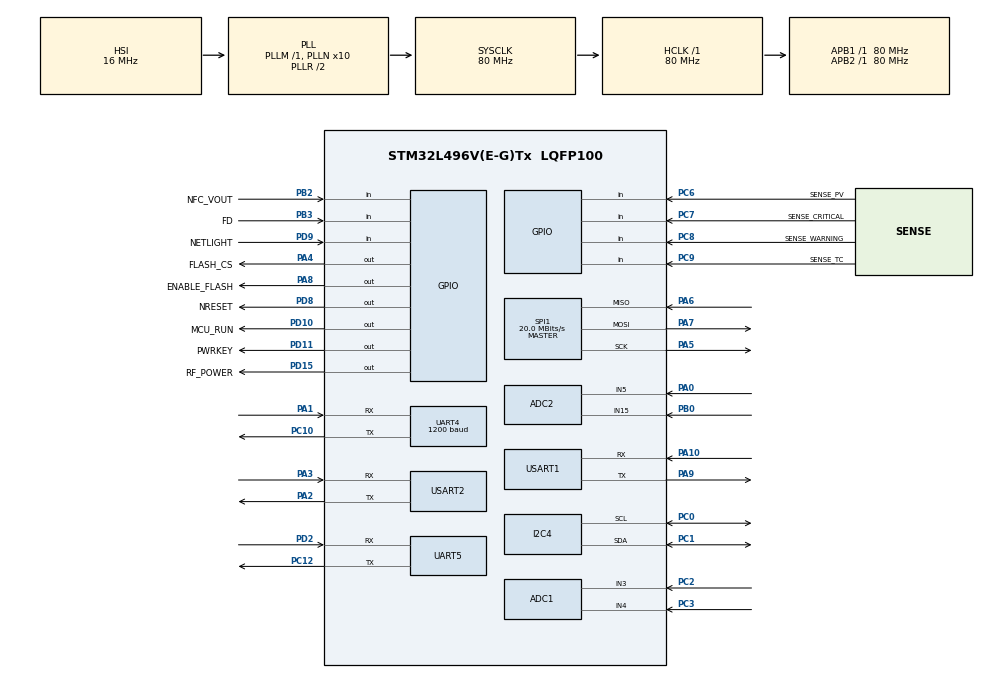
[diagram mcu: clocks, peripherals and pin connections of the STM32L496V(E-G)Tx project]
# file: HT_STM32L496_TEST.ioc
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ADC1.Channel-0\#ChannelRegularConversion=ADC_CHANNEL_TEMPSENSOR
ADC1.Channel-10\#ChannelRegularConversion=ADC_CHANNEL_3
ADC1.Channel-11\#ChannelRegularConversion=ADC_CHANNEL_4
ADC1.Channel-8\#ChannelRegularConversion=ADC_CHANNEL_VBAT
ADC1.Channel-9\#ChannelRegularConversion=ADC_CHANNEL_VREFINT
ADC1.ClockPrescaler=ADC_CLOCK_ASYNC_DIV1
ADC1.ContinuousConvMode=DISABLE
ADC1.DMAContinuousRequests=ENABLE
ADC1.DiscontinuousConvMode=DISABLE
ADC1.EOCSelection=ADC_EOC_SINGLE_CONV
ADC1.LowPowerAutoWait=DISABLE
ADC1.NbrOfConversion=5
ADC1.NbrOfConversionFlag=1
ADC1.OffsetNumber-0\#ChannelRegularConversion=ADC_OFFSET_NONE
ADC1.OffsetNumber-10\#ChannelRegularConversion=ADC_OFFSET_NONE
ADC1.OffsetNumber-11\#ChannelRegularConversion=ADC_OFFSET_NONE
ADC1.OffsetNumber-8\#ChannelRegularConversion=ADC_OFFSET_NONE
ADC1.OffsetNumber-9\#ChannelRegularConversion=ADC_OFFSET_NONE
ADC1.Overrun=ADC_OVR_DATA_OVERWRITTEN
ADC1.Rank-0\#ChannelRegularConversion=1
ADC1.Rank-10\#ChannelRegularConversion=4
ADC1.Rank-11\#ChannelRegularConversion=5
ADC1.Rank-8\#ChannelRegularConversion=2
ADC1.Rank-9\#ChannelRegularConversion=3
ADC1.SamplingTime-0\#ChannelRegularConversion=ADC_SAMPLETIME_2CYCLES_5
ADC1.SamplingTime-10\#ChannelRegularConversion=ADC_SAMPLETIME_2CYCLES_5
ADC1.SamplingTime-11\#ChannelRegularConversion=ADC_SAMPLETIME_2CYCLES_5
ADC1.SamplingTime-8\#ChannelRegularConversion=ADC_SAMPLETIME_2CYCLES_5
ADC1.SamplingTime-9\#ChannelRegularConversion=ADC_SAMPLETIME_2CYCLES_5
ADC1.master=1
ADC2.Channel-0\#ChannelRegularConversion=ADC_CHANNEL_15
ADC2.NbrOfConversionFlag=1
ADC2.OffsetNumber-0\#ChannelRegularConversion=ADC_OFFSET_NONE
ADC2.Rank-0\#ChannelRegularConversion=1
ADC2.SamplingTime-0\#ChannelRegularConversion=ADC_SAMPLETIME_2CYCLES_5
Dma.ADC1.0.Direction=DMA_PERIPH_TO_MEMORY
Dma.ADC1.0.Instance=DMA1_Channel1
Dma.ADC1.0.MemDataAlignment=DMA_MDATAALIGN_HALFWORD
Dma.ADC1.0.MemInc=DMA_MINC_ENABLE
Dma.ADC1.0.Mode=DMA_CIRCULAR
Dma.ADC1.0.PeriphDataAlignment=DMA_PDATAALIGN_HALFWORD
Dma.ADC1.0.PeriphInc=DMA_PINC_DISABLE
Dma.ADC1.0.Priority=DMA_PRIORITY_MEDIUM
Dma.ADC2.9.Direction=DMA_PERIPH_TO_MEMORY
Dma.ADC2.9.Instance=DMA1_Channel2
Dma.ADC2.9.MemDataAlignment=DMA_MDATAALIGN_HALFWORD
Dma.ADC2.9.MemInc=DMA_MINC_ENABLE
Dma.ADC2.9.Mode=DMA_CIRCULAR
Dma.ADC2.9.PeriphDataAlignment=DMA_PDATAALIGN_HALFWORD
Dma.ADC2.9.PeriphInc=DMA_PINC_DISABLE
Dma.ADC2.9.Priority=DMA_PRIORITY_LOW
Dma.Request0=ADC1
Dma.Request1=UART5_RX
Dma.Request2=UART5_TX
Dma.Request3=UART4_RX
Dma.Request4=UART4_TX
Dma.Request5=USART2_RX
Dma.Request6=USART2_TX
Dma.Request7=USART1_RX
Dma.Request8=USART1_TX
Dma.Request9=ADC2
Dma.UART4_RX.3.Direction=DMA_PERIPH_TO_MEMORY
Dma.UART4_RX.3.Instance=DMA2_Channel5
Dma.UART4_RX.3.MemDataAlignment=DMA_MDATAALIGN_BYTE
Dma.UART4_RX.3.MemInc=DMA_MINC_ENABLE
Dma.UART4_RX.3.Mode=DMA_CIRCULAR
Dma.UART4_RX.3.PeriphDataAlignment=DMA_PDATAALIGN_BYTE
Dma.UART4_RX.3.PeriphInc=DMA_PINC_DISABLE
Dma.UART4_RX.3.Priority=DMA_PRIORITY_MEDIUM
Dma.UART4_TX.4.Direction=DMA_MEMORY_TO_PERIPH
Dma.UART4_TX.4.Instance=DMA2_Channel3
Dma.UART4_TX.4.MemDataAlignment=DMA_MDATAALIGN_BYTE
Dma.UART4_TX.4.MemInc=DMA_MINC_ENABLE
Dma.UART4_TX.4.Mode=DMA_CIRCULAR
Dma.UART4_TX.4.PeriphDataAlignment=DMA_PDATAALIGN_BYTE
Dma.UART4_TX.4.PeriphInc=DMA_PINC_DISABLE
Dma.UART4_TX.4.Priority=DMA_PRIORITY_MEDIUM
Dma.UART5_RX.1.Direction=DMA_PERIPH_TO_MEMORY
Dma.UART5_RX.1.Instance=DMA2_Channel2
Dma.UART5_RX.1.MemDataAlignment=DMA_MDATAALIGN_BYTE
Dma.UART5_RX.1.MemInc=DMA_MINC_ENABLE
Dma.UART5_RX.1.Mode=DMA_CIRCULAR
Dma.UART5_RX.1.PeriphDataAlignment=DMA_PDATAALIGN_BYTE
Dma.UART5_RX.1.PeriphInc=DMA_PINC_DISABLE
Dma.UART5_RX.1.Priority=DMA_PRIORITY_MEDIUM
Dma.UART5_TX.2.Direction=DMA_MEMORY_TO_PERIPH
Dma.UART5_TX.2.Instance=DMA2_Channel1
Dma.UART5_TX.2.MemDataAlignment=DMA_MDATAALIGN_BYTE
Dma.UART5_TX.2.MemInc=DMA_MINC_ENABLE
Dma.UART5_TX.2.Mode=DMA_CIRCULAR
Dma.UART5_TX.2.PeriphDataAlignment=DMA_PDATAALIGN_BYTE
Dma.UART5_TX.2.PeriphInc=DMA_PINC_DISABLE
Dma.UART5_TX.2.Priority=DMA_PRIORITY_MEDIUM
Dma.USART1_RX.7.Direction=DMA_PERIPH_TO_MEMORY
Dma.USART1_RX.7.Instance=DMA1_Channel5
Dma.USART1_RX.7.MemDataAlignment=DMA_MDATAALIGN_BYTE
Dma.USART1_RX.7.MemInc=DMA_MINC_ENABLE
Dma.USART1_RX.7.Mode=DMA_CIRCULAR
Dma.USART1_RX.7.PeriphDataAlignment=DMA_PDATAALIGN_BYTE
Dma.USART1_RX.7.PeriphInc=DMA_PINC_DISABLE
Dma.USART1_RX.7.Priority=DMA_PRIORITY_MEDIUM
Dma.USART1_TX.8.Direction=DMA_MEMORY_TO_PERIPH
Dma.USART1_TX.8.Instance=DMA1_Channel4
Dma.USART1_TX.8.MemDataAlignment=DMA_MDATAALIGN_BYTE
Dma.USART1_TX.8.MemInc=DMA_MINC_ENABLE
Dma.USART1_TX.8.Mode=DMA_CIRCULAR
Dma.USART1_TX.8.PeriphDataAlignment=DMA_PDATAALIGN_BYTE
Dma.USART1_TX.8.PeriphInc=DMA_PINC_DISABLE
Dma.USART1_TX.8.Priority=DMA_PRIORITY_MEDIUM
Dma.USART2_RX.5.Direction=DMA_PERIPH_TO_MEMORY
Dma.USART2_RX.5.Instance=DMA1_Channel6
Dma.USART2_RX.5.MemDataAlignment=DMA_MDATAALIGN_BYTE
Dma.USART2_RX.5.MemInc=DMA_MINC_ENABLE
Dma.USART2_RX.5.Mode=DMA_CIRCULAR
Dma.USART2_RX.5.PeriphDataAlignment=DMA_PDATAALIGN_BYTE
Dma.USART2_RX.5.PeriphInc=DMA_PINC_DISABLE
Dma.USART2_RX.5.Priority=DMA_PRIORITY_MEDIUM
Dma.USART2_TX.6.Direction=DMA_MEMORY_TO_PERIPH
Dma.USART2_TX.6.Instance=DMA1_Channel7
Dma.USART2_TX.6.MemDataAlignment=DMA_MDATAALIGN_BYTE
Dma.USART2_TX.6.MemInc=DMA_MINC_ENABLE
Dma.USART2_TX.6.Mode=DMA_CIRCULAR
Dma.USART2_TX.6.PeriphDataAlignment=DMA_PDATAALIGN_BYTE
Dma.USART2_TX.6.PeriphInc=DMA_PINC_DISABLE
Dma.USART2_TX.6.Priority=DMA_PRIORITY_MEDIUM
I2C4.Timing=0x10D19CE4
Mcu.Family=STM32L4
Mcu.Name=STM32L496V(E-G)Tx
Mcu.Package=LQFP100
NVIC.ADC1_2_IRQn=true\:0\:0\:false\:false\:true\:true\:true\:true
NVIC.DMA1_Channel1_IRQn=true\:0\:0\:false\:false\:true\:false\:true\:true
NVIC.DMA1_Channel2_IRQn=true\:0\:0\:false\:false\:true\:false\:true\:true
NVIC.DMA1_Channel4_IRQn=true\:0\:0\:false\:false\:true\:false\:true\:true
NVIC.DMA1_Channel5_IRQn=true\:0\:0\:false\:false\:true\:false\:true\:true
NVIC.DMA1_Channel6_IRQn=true\:0\:0\:false\:false\:true\:false\:true\:true
NVIC.DMA1_Channel7_IRQn=true\:0\:0\:false\:false\:true\:false\:true\:true
NVIC.DMA2_Channel1_IRQn=true\:0\:0\:false\:false\:true\:false\:true\:true
NVIC.DMA2_Channel2_IRQn=true\:0\:0\:false\:false\:true\:false\:true\:true
NVIC.DMA2_Channel3_IRQn=true\:0\:0\:false\:false\:true\:false\:true\:true
NVIC.DMA2_Channel5_IRQn=true\:0\:0\:false\:false\:true\:false\:true\:true
NVIC.I2C4_ER_IRQn=true\:0\:0\:false\:false\:true\:true\:true\:true
NVIC.I2C4_EV_IRQn=true\:0\:0\:false\:false\:true\:true\:true\:true
NVIC.PriorityGroup=NVIC_PRIORITYGROUP_4
NVIC.SPI1_IRQn=true\:0\:0\:false\:false\:true\:true\:true\:true
NVIC.TIM1_BRK_TIM15_IRQn=true\:0\:0\:false\:false\:true\:true\:true\:true
NVIC.UART4_IRQn=true\:0\:0\:false\:false\:true\:true\:true\:true
NVIC.UART5_IRQn=true\:0\:0\:false\:false\:true\:true\:true\:true
NVIC.USART1_IRQn=true\:0\:0\:false\:false\:true\:true\:true\:true
NVIC.USART2_IRQn=true\:0\:0\:false\:false\:true\:true\:true\:true
PA0.Signal=ADCx_IN5
PA1.Mode=Asynchronous
PA1.Signal=UART4_RX
PA10.Mode=Asynchronous
PA10.Signal=USART1_RX
PA13\ (JTMS/SWDIO).Mode=Serial_Wire
PA13\ (JTMS/SWDIO).Signal=SYS_JTMS-SWDIO
PA14\ (JTCK/SWCLK).Mode=Serial_Wire
PA14\ (JTCK/SWCLK).Signal=SYS_JTCK-SWCLK
PA2.Mode=Asynchronous
PA2.Signal=USART2_TX
PA3.Mode=Asynchronous
PA3.Signal=USART2_RX
PA4.GPIO_Label=FLASH_CS
PA4.GPIO_Speed=GPIO_SPEED_FREQ_VERY_HIGH
PA4.Signal=GPIO_Output
PA5.Mode=Full_Duplex_Master
PA5.Signal=SPI1_SCK
PA6.Mode=Full_Duplex_Master
PA6.Signal=SPI1_MISO
PA7.Mode=Full_Duplex_Master
PA7.Signal=SPI1_MOSI
PA8.GPIO_Label=ENABLE_FLASH
PA8.PinState=GPIO_PIN_SET
PA8.Signal=GPIO_Output
PA9.Mode=Asynchronous
PA9.Signal=USART1_TX
PB0.Signal=ADCx_IN15
PB2.GPIO_Label=NFC_VOUT
PB2.Signal=GPIO_Input
PB3\ (JTDO/TRACESWO).GPIO_Label=FD
PB3\ (JTDO/TRACESWO).Signal=GPIO_Input
PC0.Mode=I2C
PC0.Signal=I2C4_SCL
PC1.Mode=I2C
PC1.Signal=I2C4_SDA
PC10.Mode=Asynchronous
PC10.Signal=UART4_TX
PC12.Mode=Asynchronous
PC12.Signal=UART5_TX
PC2.Signal=ADCx_IN3
PC3.Signal=ADCx_IN4
PC6.GPIO_Label=SENSE_PV
PC6.Signal=GPIO_Input
PC7.GPIO_Label=SENSE_CRITICAL
PC7.Signal=GPIO_Input
PC8.GPIO_Label=SENSE_WARNING
PC8.Signal=GPIO_Input
PC9.GPIO_Label=SENSE_TC
PC9.Signal=GPIO_Input
PD10.GPIO_Label=MCU_RUN 
PD10.Signal=GPIO_Output
PD11.GPIO_Label=PWRKEY
PD11.GPIO_PuPd=GPIO_PULLUP
PD11.PinState=GPIO_PIN_SET
PD11.Signal=GPIO_Output
PD15.GPIO_Label=RF_POWER
PD15.GPIO_PuPd=GPIO_PULLUP
PD15.PinState=GPIO_PIN_SET
PD15.Signal=GPIO_Output
PD2.Mode=Asynchronous
PD2.Signal=UART5_RX
PD8.GPIO_Label=NRESET
PD8.Signal=GPIO_Output
PD9.GPIO_Label=NETLIGHT
PD9.GPIO_PuPd=GPIO_PULLUP
PD9.Signal=GPIO_Input
ProjectManager.HeapSize=0x400
ProjectManager.StackSize=0x800
ProjectManager.TargetToolchain=STM32CubeIDE
RCC.ADCFreq_Value=64000000
RCC.AHBFreq_Value=80000000
RCC.APB1Freq_Value=80000000
RCC.APB1TimFreq_Value=80000000
RCC.APB2Freq_Value=80000000
RCC.APB2TimFreq_Value=80000000
RCC.CortexFreq_Value=80000000
RCC.HCLKFreq_Value=80000000
RCC.HSE_VALUE=8000000
RCC.HSI48_VALUE=48000000
RCC.HSI_VALUE=16000000
RCC.LSE_VALUE=32768
RCC.MSI_VALUE=4000000
RCC.PLLN=10
RCC.PLLSourceVirtual=RCC_PLLSOURCE_HSI
RCC.SYSCLKFreq_VALUE=80000000
RCC.SYSCLKSource=RCC_SYSCLKSOURCE_PLLCLK
RCC.UART4CLockSelection=RCC_UART4CLKSOURCE_HSI
RCC.USBFreq_Value=64000000
RCC.VCOOutputFreq_Value=160000000
SH.ADCx_IN15.0=ADC2_IN15,IN15-Single-Ended
SH.ADCx_IN3.0=ADC1_IN3,IN3-Single-Ended
SH.ADCx_IN4.0=ADC1_IN4,IN4-Single-Ended
SH.ADCx_IN5.0=ADC2_IN5,IN5-Single-Ended
SPI1.BaudRatePrescaler=SPI_BAUDRATEPRESCALER_4
SPI1.CalculateBaudRate=20.0 MBits/s
SPI1.DataSize=SPI_DATASIZE_8BIT
SPI1.Direction=SPI_DIRECTION_2LINES
SPI1.Mode=SPI_MODE_MASTER
SPI1.VirtualType=VM_MASTER
SYS.VoltageScaling=SYSCFG_VREFBUF_VOLTAGE_SCALE1
UART4.BaudRate=1200
USART1.VirtualMode-Asynchronous=VM_ASYNC
USART2.VirtualMode-Asynchronous=VM_ASYNC
VP_ADC1_TempSens_Input.Mode=IN-TempSens
VP_ADC1_Vbat_Input.Mode=IN-Vbat
VP_ADC1_Vref_Input.Mode=IN-Vrefint
VP_RTC_VS_RTC_Activate.Mode=RTC_Enabled
VP_TIM1_VS_ClockSourceINT.Mode=Internal
VP_TIM1_VS_ClockSourceITR.Mode=TriggerSource_ITR0
VREF+.Mode=InternalMode
VREF+.Signal=VREFBUF_OUT
board=custom

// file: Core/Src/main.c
/* USER CODE BEGIN Header */
/**
  ******************************************************************************
  * @file           : main.c
  * @brief          : Main program body
  ******************************************************************************
  * @attention
  *
  * Copyright (c) 2024 STMicroelectronics.
  * All rights reserved.
  *
  * This software is licensed under terms that can be found in the LICENSE file
  * in the root directory of this software component.
  * If no LICENSE file comes with this software, it is provided AS-IS.
  *
  ******************************************************************************
  */
/* USER CODE END Header */
#include "main.h"

/* USER CODE BEGIN Includes */
#include "stdio.h"
#include "string.h"
#include "MX25L.h"
/* USER CODE END Includes */

/* USER CODE BEGIN PTD */
//#define FLASH_TEST
/* USER CODE END PTD */

/* USER CODE BEGIN PD */
#define VDDA_APPLI                     ((uint32_t) 3300)    /* Value of analog voltage supply Vdda (unit: mV) */
#define RANGE_12BITS                   ((uint32_t) 4095)    /* Max digital value with a full range of 12 bits */

/* ADC parameters */
#define ADCCONVERTEDVALUES_BUFFER_SIZE ((uint32_t)    3)    /* Size of array containing ADC converted values: set to ADC sequencer number of ranks converted, to have a rank in each address */

/* Internal temperature sensor: constants data used for indicative values in  */
/* this example. Refer to device datasheet for min/typ/max values.            */
/* For more accurate values, device should be calibrated on offset and slope  */
/* for application temperature range.                                         */
#define INTERNAL_TEMPSENSOR_V30        ((int32_t)760)           /* Internal temperature sensor, parameter V25 (unit: mV). Refer to device datasheet for min/typ/max values. */
#define INTERNAL_TEMPSENSOR_AVGSLOPE   ((int32_t)2500)          /* Internal temperature sensor, parameter Avg_Slope (unit: uV/DegCelsius). Refer to device datasheet for min/typ/max values. */
#define TEMP30_CAL_ADDR   ((uint16_t*) ((uint32_t)0x1FFF75A8))  /* Internal temperature sensor, parameter TS_CAL1: TS ADC raw data acquired at a temperature of 30 DegC (+-5 DegC) */
#define TEMP110_CAL_ADDR  ((uint16_t*) ((uint32_t)0x1FFF75CA))  /* Internal temperature sensor, parameter TS_CAL2: TS ADC raw data acquired at a temperature of  110 DegC (+-5 DegC) */
#define VDDA_TEMP_CAL                  ((uint32_t)3000)        /* Vdda value with which temperature sensor has been calibrated in production (+-10 mV). */

/**
  * @brief  Computation of temperature (unit: degree Celsius) from the internal
  *         temperature sensor measurement by ADC.
  *         Computation is using temperature sensor calibration values done
  *         in production.
  *         Computation formula:
  *         Temperature = (TS_ADC_DATA - TS_CAL1) * (110degC - 30degC)
  *                       / (TS_CAL2 - TS_CAL1) + 30degC
  *         with TS_ADC_DATA = temperature sensor raw data measured by ADC
  *              Avg_Slope = (TS_CAL2 - TS_CAL1) / (110 - 30)
  *              TS_CAL1 = TS_ADC_DATA @30degC (calibrated in factory)
  *              TS_CAL2 = TS_ADC_DATA @110degC (calibrated in factory)
  *         Calculation validity conditioned to settings:
  *          - ADC resolution 12 bits (need to scale conversion value
  *            if using a different resolution).
  *          - Power supply of analog voltage set to literal VDDA_APPLI
  *            (need to scale value if using a different value of analog
  *            voltage supply).
  * @param TS_ADC_DATA: Temperature sensor digital value measured by ADC
  * @retval None
  */
#define COMPUTATION_TEMPERATURE_TEMP30_TEMP110(TS_ADC_DATA)                    \
  (((( ((int32_t)((TS_ADC_DATA * VDDA_APPLI) / VDDA_TEMP_CAL)                  \
        - (int32_t) *TEMP30_CAL_ADDR)                                          \
     ) * (int32_t)(110 - 30)                                                   \
    ) / (int32_t)(*TEMP110_CAL_ADDR - *TEMP30_CAL_ADDR)                        \
   ) + 30                                                                      \
  )

/**
  * @brief  Computation of temperature (unit: degree Celsius) from the internal
  *         temperature sensor measurement by ADC.
  *         Computation is using temperature sensor standard parameters (refer
  *         to device datasheet).
  *         Computation formula:
  *         Temperature = (VTS - V30)/Avg_Slope + 30
  *         with VTS = temperature sensor voltage
  *              Avg_Slope = temperature sensor slope (unit: uV/DegCelsius)
  *              V30 = temperature sensor @30degC and Vdda defined at VDDA_TEMP_CAL (unit: mV)
  *         Calculation validity conditioned to settings:
  *          - ADC resolution 12 bits (need to scale value if using a different
  *            resolution).
  *          - Power supply of analog voltage set to literal VDDA_APPLI
  *            (need to scale value if using a different value of analog
  *            voltage supply).
  * @param TS_ADC_DATA: Temperature sensor digital value measured by ADC
  * @retval None
  */
#define COMPUTATION_TEMPERATURE_STD_PARAMS_AVGSLOPE_V30(TS_ADC_DATA)           \
  ((( ((int32_t)(((TS_ADC_DATA) * VDDA_APPLI) / RANGE_12BITS)                  \
       - (int32_t)(INTERNAL_TEMPSENSOR_V30)                                    \
      ) * 1000                                                                 \
    ) / INTERNAL_TEMPSENSOR_AVGSLOPE                                           \
   ) + 30                                                                      \
  )

/**
  * @brief  Computation of voltage (unit: mV) from ADC measurement digital
  *         value on range 12 bits.
  *         Calculation validity conditioned to settings:
  *          - ADC resolution 12 bits (need to scale value if using a different
  *            resolution).
  *          - Power supply of analog voltage Vdda 3.3V (need to scale value
  *            if using a different analog voltage supply value).
  * @param ADC_DATA: Digital value measured by ADC
  * @retval None
  */
#define COMPUTATION_DIGITAL_12BITS_TO_VOLTAGE(ADC_DATA)                        \
  ( ((ADC_DATA) * VDDA_APPLI) / RANGE_12BITS)

/* USER CODE END PD */

ADC_HandleTypeDef hadc1;
ADC_HandleTypeDef hadc2;
DMA_HandleTypeDef hdma_adc1;
DMA_HandleTypeDef hdma_adc2;

I2C_HandleTypeDef hi2c4;

RTC_HandleTypeDef hrtc;

SPI_HandleTypeDef hspi1;

TIM_HandleTypeDef htim1;

UART_HandleTypeDef huart4;
UART_HandleTypeDef huart5;
UART_HandleTypeDef huart1;
UART_HandleTypeDef huart2;
DMA_HandleTypeDef hdma_uart4_rx;
DMA_HandleTypeDef hdma_uart4_tx;
DMA_HandleTypeDef hdma_uart5_rx;
DMA_HandleTypeDef hdma_uart5_tx;
DMA_HandleTypeDef hdma_usart1_rx;
DMA_HandleTypeDef hdma_usart1_tx;
DMA_HandleTypeDef hdma_usart2_rx;
DMA_HandleTypeDef hdma_usart2_tx;

void SystemClock_Config(void);
void PeriphCommonClock_Config(void);
static void MX_GPIO_Init(void);
static void MX_DMA_Init(void);
static void MX_I2C4_Init(void);
static void MX_UART4_Init(void);
static void MX_USART1_UART_Init(void);
static void MX_USART2_UART_Init(void);
static void MX_RTC_Init(void);
static void MX_UART5_Init(void);
static void MX_ADC1_Init(void);
static void MX_SPI1_Init(void);
static void MX_ADC2_Init(void);
static void MX_TIM1_Init(void);
/* USER CODE BEGIN PFP */
uint8_t rxData[2];
uint8_t Modem_RX[1000];
uint16_t Modem_RX_Index = 0;
uint8_t Modem_RX_Flag = 0;
uint32_t Modem_RX_Time = 0;

uint8_t Debug_RX[1000];
uint16_t Debug_RX_Index = 0;
uint8_t Debug_RX_Flag = 0;
uint8_t debug_echo = 1;
uint8_t adc_complete_flag1 = 0;
uint8_t adc_complete_flag2 = 0;
__IO uint16_t adc_results1[41];
uint32_t adc_results2[41];

/* Variable to report ADC sequencer status */
uint8_t         ubSequenceCompleted = RESET;     /* Set when all ranks of the sequence have been converted */

int _write(int fd, char *str, int len)
{
#if 0
	for(int i=0; i<len; i++)
	{
		HAL_UART_Transmit(&huart5, (uint8_t *)&str[i], 1, 0xFFFF);
	}
#endif
	HAL_UART_Transmit(&huart5, (uint8_t *)str, len, 0xFFFF);
	return len;
}

void HAL_UART_RxCpltCallback(UART_HandleTypeDef *huart) {

    /*
        This will be called once data is received successfully,
        via interrupts.
    */

     /*
       loop back received data
     */
	if(huart == &huart5)
	{
		 HAL_UART_Receive_IT(&huart5, rxData, 1);
		 if(debug_echo)
				 HAL_UART_Transmit(&huart5, rxData, 1, 1000);

		 Debug_RX[Debug_RX_Index++] = rxData[0];
		 if(rxData[0]=='\n')
		 {
			 Debug_RX_Flag = 1;
		 }
	}
	else if(huart == &huart2)
	{
		HAL_UART_Receive_IT(&huart2, rxData, 1);
		Modem_RX[Modem_RX_Index++] = rxData[0];
		if((Modem_RX[Modem_RX_Index-1] == '\n')&&(Modem_RX[Modem_RX_Index-2] == '\r'))
		{
			Modem_RX[Modem_RX_Index-1] = '.';
			Modem_RX[Modem_RX_Index-2] = '.';
			Modem_RX_Time = HAL_GetTick();
			Modem_RX_Flag |= 0x01;
			if((Modem_RX[Modem_RX_Index-4] == 'O')&&(Modem_RX[Modem_RX_Index-3] == 'K'))
			{
				Modem_RX_Flag |= 0x02;
			}
			else if((Modem_RX[Modem_RX_Index-5] == 'R')&&(Modem_RX[Modem_RX_Index-4] == 'O')&&(Modem_RX[Modem_RX_Index-3] == 'R'))
			{
				Modem_RX_Flag |= 0x02;
			}
		}
	}
}
#if 0
void HAL_ADC_ConvCpltCallback(ADC_HandleTypeDef *hadc)
{
    if(hadc == &hadc1)
    {
        adc_complete_flag1 = 1;
    }
#if 0
    else if(hadc == &hadc2)
    {
        adc_complete_flag2 = 1;
    }
#endif
}
#endif

/**
  * @brief  Conversion complete callback in non blocking mode
  * @param  AdcHandle : ADC handle
  * @note   This example shows a simple way to report end of conversion
  *         and get conversion result. You can add your own implementation.
  * @retval None
  */
void HAL_ADC_ConvCpltCallback(ADC_HandleTypeDef *hadc)
{
  /* Report to main program that ADC sequencer has reached its end */
  if(hadc == &hadc1)
  {
    ubSequenceCompleted = SET;
    #if 0
    printf("ADC 1: %5d(%04X) 2: %5d(%04X) 3: %5d(%04X) 4: %5d(%04X)\n", COMPUTATION_TEMPERATURE_STD_PARAMS_AVGSLOPE_V30(adc_results1[0]&0x0FFF), (adc_results1[0]&0x0FFF),
            COMPUTATION_DIGITAL_12BITS_TO_VOLTAGE(adc_results1[1]&0x0FFF), (adc_results1[1]&0x0FFF),
            (adc_results1[2]&0x0FFF), (adc_results1[2]&0x0FFF),
            (adc_results1[3]&0x0FFF), (adc_results1[3]&0x0FFF));
    #endif
  }
}
void HAL_ADC_ConvHalfCpltCallback(ADC_HandleTypeDef *hadc)
{
  /* Report to main program that ADC sequencer has reached its end */
  if(hadc == &hadc1)
  {
    ubSequenceCompleted = SET;
    #if 0
    printf("ADC 1: %5d(%04X) 2: %5d(%04X) 3: %5d(%04X) 4: %5d(%04X)\n", COMPUTATION_TEMPERATURE_STD_PARAMS_AVGSLOPE_V30(adc_results1[0]&0x0FFF), (adc_results1[0]&0x0FFF),
            COMPUTATION_DIGITAL_12BITS_TO_VOLTAGE(adc_results1[1]&0x0FFF), (adc_results1[1]&0x0FFF),
            (adc_results1[2]&0x0FFF), (adc_results1[2]&0x0FFF),
            (adc_results1[3]&0x0FFF), (adc_results1[3]&0x0FFF));
    #endif
  }
}

/* USER CODE END PFP */

int main(void)
{

  /* USER CODE BEGIN 1 */
  uint32_t tickFreq = 0;
  uint16_t adcVal[2]= {0,};
  uint8_t adcIndex = 0;
  uint16_t adcCount =0;
  uint8_t SPI_tx_data[4]={0,};
  uint8_t SPI_rx_data[4]={0,};
  uint16_t i;
  /* USER CODE END 1 */

  /* MCU Configuration--------------------------------------------------------*/

  /* Reset of all peripherals, Initializes the Flash interface and the Systick. */
  HAL_Init();

  /* USER CODE BEGIN Init */
  //uint8_t ATCMD[5] = "AT\r\n";
  /* USER CODE END Init */

  /* Configure the system clock */
  SystemClock_Config();

  /* Configure the peripherals common clocks */
  PeriphCommonClock_Config();

  /* USER CODE BEGIN SysInit */
  //HAL_Delay(100);

  /* USER CODE END SysInit */

  /* Initialize all configured peripherals */
  MX_GPIO_Init();
  MX_DMA_Init();
  MX_I2C4_Init();
  MX_UART4_Init();
  MX_USART1_UART_Init();
  MX_USART2_UART_Init();
  MX_RTC_Init();
  MX_UART5_Init();
  MX_ADC1_Init();
  MX_SPI1_Init();
  MX_ADC2_Init();
  MX_TIM1_Init();
  /* USER CODE BEGIN 2 */
  HAL_UART_Receive_IT(&huart5, rxData, 1);
  HAL_UART_Receive_IT(&huart2, rxData, 1);
  HAL_UART_Transmit(&huart5, (uint8_t *)"Start!!\r\n",9 , 0xFFFF);
  printf("Hello World!\r\n");
  HAL_GPIO_WritePin(GPIOD, RF_POWER_Pin|NRESET_Pin, GPIO_PIN_RESET);
  HAL_Delay(1000);
  SPI_tx_data[0] = 0x9f;
  HAL_SPI_TransmitReceive(&hspi1, SPI_tx_data, SPI_rx_data, 4, 100);
  printf("MX25L3233 RDID =0x%02x%02x%02x\r\n", SPI_rx_data[1], SPI_rx_data[2], SPI_rx_data[3]);
  /* USER CODE END 2 */

  /* Infinite loop */
  /* USER CODE BEGIN WHILE */
  printf("PWRKEY Down\r\n");
  HAL_GPIO_WritePin(GPIOD, PWRKEY_Pin, GPIO_PIN_SET);
  HAL_Delay(2000);
  printf("PWRKEY UP\r\n");
  HAL_GPIO_WritePin(GPIOD, PWRKEY_Pin, GPIO_PIN_RESET);
  tickFreq =  HAL_GetTickFreq();
#ifdef FLASH_TEST
  ////////////////Flash TEST/////////
  MX25L_SetStatus(0x00);
  	uint8_t status = MX25L_GetStatus();
  	printf("\r\nGet status:%d\r\n",status);
  	printf("-----------------\r\n");
  	uint8_t buffer[257];
  	MX25L_Get_Identification((uint8_t *)buffer);
  	printf("Identification read:\r\n");
  	printf("Byte 0: %x\r\n", buffer[0]);
  	printf("Byte 1: %x\r\n", buffer[1]);
  	printf("Byte 2: %x\r\n", buffer[2]);
  	printf("-----------------\r\n");

  	printf("Clearing chip ... ");
  	MX25L_ChipErase();
  	printf("done\r\n");
  	printf("-----------------\r\n");
  	buffer[256];
  	uint8_t ch = 0x21;
  	uint8_t page = 0;
  	uint8_t endFlash = 1;
  	////////////////////
#endif
  memset(adc_results1, 0, sizeof(adc_results1));
  if (HAL_ADCEx_Calibration_Start(&hadc1, ADC_SINGLE_ENDED) != HAL_OK)
  {
  /* Calibration Error */
  printf("Calibration Error !\n");
    Error_Handler();
  }
  HAL_ADC_Start_DMA(&hadc1, (uint32_t*) adc_results1, 6);

#if 0
  //adc_done = 0;
  adc_complete_flag1 = 0;
  adc_complete_flag2 = 0;
  HAL_ADC_Start_DMA(&hadc1, (uint32_t*) adc_results1, 32);
  //HAL_ADC_Start_DMA(&hadc2, (uint32_t*) adc_results2, 32);
#if 1
  while (!adc_complete_flag1) {
    HAL_Delay(1);
  }
  adc_complete_flag1 =0;
#if 0
  while (!adc_complete_flag2) {
    HAL_Delay(1);
  }
  adc_complete_flag2 =0;
#endif
#endif

  for (int i = 0; i < 32; i++) {
    printf("ADC%d - 1: %5d(%04X)\n", i + 1, (adc_results1[i]&0x0FFF), (adc_results1[i]&0x0FFF));
  }

  HAL_ADC_Stop_DMA(&hadc1);
#endif
#if 0
  /* Run the ADC calibration in single-ended mode */
   if (HAL_ADCEx_Calibration_Start(&hadc1, ADC_SINGLE_ENDED) != HAL_OK)
   {
     /* Calibration Error */
     Error_Handler();
   }

   /*##-3- Start the conversion process #######################################*/
   if (HAL_ADC_Start(&hadc1) != HAL_OK)
   {
     /* Start Conversation Error */
	 printf("ADC Start Error\n");
	 //continue;
     //Error_Handler();
   }
   for (int i = 0; i < 32; i++) {
   /*##-4- Wait for the end of conversion #####################################*/
   /*  For simplicity reasons, this example is just waiting till the end of the
       conversion, but application may perform other tasks while conversion
       operation is ongoing. */
   //if (HAL_ADC_PollForConversion(&hadc1, 10) != HAL_OK)
   HAL_StatusTypeDef result;
   //result = HAL_ADC_PollForConversion(&hadc1, 10);
   if((result = HAL_ADC_PollForConversion(&hadc1, 10)) != HAL_OK)
   {
     /* End Of Conversion flag not set on time */
     //Error_Handler();
	   printf("ERROR %d %d\n", i, result);
   }
   else
   {
     /* ADC conversion completed */
     /*##-5- Get the converted value of regular channel  ########################*/
	   adc_results1[0] = HAL_ADC_GetValue(&hadc1);
	   printf("ADC%2d - 1: %5d(%04X)\n",i+1, (adc_results1[0]&0x0FFF), (adc_results1[0]&0x0FFF));
   }
  }
   #endif

  while (1)
  {
  /* Start ADC conversion */
    /* Since sequencer is enabled in discontinuous mode, this will perform    */
    /* the conversion of the next rank in sequencer.                          */
    /* Note: For this example, conversion is triggered by software start,     */
    /*       therefore "HAL_ADC_Start()" must be called for each conversion.  */
    /*       Since DMA transfer has been initiated previously by function     */
    /*       "HAL_ADC_Start_DMA()", this function will keep DMA transfer      */
    /*       active.                                                          */
  #if 1
    if (HAL_ADC_Start(&hadc1) != HAL_OK)
    {
        printf("start Error\r\n");
      Error_Handler();
    }
    #endif

    /* After each intermediate conversion,
       - EOS remains reset (EOS is set only every third conversion)
       - EOC is set then immediately reset by DMA reading of DR register.
     Therefore, the only reliable flag to check the conversion end is EOSMP
     (end of sampling flag).
     Once EOSMP is set, the end of conversion will be reached when the successive
     approximations are over.
     RM indicates 12.5 ADC clock cycles for the successive approximations
     duration with a 12-bit resolution, or 185.ns at 80 MHz.
     Therefore, it is known that the conversion is over at
     HAL_ADC_PollForConversion() API return */
    /* Note: Function "HAL_ADC_PollForConversion(&AdcHandle, 1)" could   */
    /*       be used here, but with a different ADC configuration        */
    /*      (this function cannot be used if ADC configured in DMA mode  */
    /*       and polling for end of each conversion):                    */
    /*       a possible configuration is ADC polling for the entire      */
    /*       sequence (ADC init parameter "EOCSelection" set             */
    /*       to ADC_EOC_SEQ_CONV) (this also induces that ADC            */
    /*       discontinuous mode must be disabled).                       */
    #if 1
    if (HAL_ADC_PollForEvent(&hadc1, ADC_EOSMP_EVENT, 10) != HAL_OK)
    {
        printf("adc event Error\r\n");
      Error_Handler();
    }
    #endif
    if (ubSequenceCompleted == SET)
    {
        ubSequenceCompleted = RESET;
        #if 0
        printf("ADC 1: %5d(%04X) 2: %5d(%04X) 3: %5d(%04X) 4: %5d(%04X)\n", (adc_results1[0]&0x0FFF), (adc_results1[0]&0x0FFF),
            (adc_results1[1]&0x0FFF), (adc_results1[1]&0x0FFF),
            (adc_results1[2]&0x0FFF), (adc_results1[2]&0x0FFF),
            (adc_results1[3]&0x0FFF), (adc_results1[3]&0x0FFF));
        #endif
        for(i=0; i<6; i++)
        {
            //printf("%2d: %4d(%04X)/%4d(%04X) ", i, ((adc_results1[i]>>16)&0x0000FFFF), ((adc_results1[i]>>16)&0x0000FFFF), (adc_results1[i]&0x0000FFFF), (adc_results1[i]&0x0000FFFF));
            printf("%2d: %4d (%04X) ", i, (adc_results1[i]&0x0000FFFF), (adc_results1[i]&0x0000FFFF));
        }
        printf("\r\n");
        #if 0
        adc_results1[0]=0;
        adc_results1[1]=0;
        adc_results1[2]=0;
        #endif
        //HAL_ADC_Start_DMA(&hadc1, (uint32_t*) adc_results1, 4);
    }
    #if 0
    if (HAL_ADC_Stop(&hadc1) != HAL_OK)
    {
        printf("stop Error\r\n");
      Error_Handler();
    }
    #endif

#ifdef FLASH_TEST
	  if(endFlash)
	  {
		  memset(buffer,ch, 256);
		printf("Writing page %d ... ", page);
		MX25L_Write(page * 256, buffer, 256);
		printf("done\r\n");
		printf("Data: %s\r\n", buffer);
		printf("Reading page %d ... ", page);
		memset(buffer,0, 256);
		MX25L_Read(page * 256, buffer, 256);
		//buffer[256] = {00;
		printf("done\r\n");
		printf("Data: %s\r\n", buffer);
		printf("\r\n\r\n");
		ch ++;
		if(ch > 0x7E) ch = 0x21;
		page ++;
		if(page > 200)
			{
				endFlash = 0;
				printf("Flash test Finish!!\r\n");
			}
		HAL_Delay(1000);
	  }
#endif
#if 0
	  if(adcCount++ > 500)
	  {
		  adcCount = 0;
		  HAL_ADC_Start(&hadc1);
		  HAL_ADC_PollForConversion(&hadc1, HAL_MAX_DELAY);
		  adcVal[adcIndex++] = HAL_ADC_GetValue(&hadc1);
		  printf("ADC 0:%4d, 1:%4d\r\n", adcVal[0], adcVal[1]);
		  if(adcIndex > 1)
			  adcIndex = 0;
	  }
#endif
#if 0
	  tickFreq =  HAL_GetTickFreq();
	  if(Modem_RX_Flag & 0x02 )
	  {
		  Modem_RX_Flag = 0;
		  Modem_RX[Modem_RX_Index]=0;
		  printf("[Modem RX] : %s\r\n", Modem_RX);
		  Modem_RX_Index = 0;
	  }
	  else if(Debug_RX_Flag == 1)
	  {
		  Debug_RX[Debug_RX_Index] =0;
		  printf("[Debug TX] %s", Debug_RX);
		  HAL_UART_Transmit(&huart2, Debug_RX, Debug_RX_Index, 1000);
		  if(strncmp((char *)Debug_RX, "echo off", 8)==0)
		  {
			  printf("Echo OFF\r\n");
			  debug_echo = 0;
		  }
		  else if(strncmp((char *)Debug_RX, "echo on", 7)==0)
		  {
			  printf("Echo ON\r\n");
			  debug_echo = 1;
		  }
		  Debug_RX_Index =0;
		  Debug_RX_Flag = 0;
	  }
	  else if(Modem_RX_Flag & 0x01)
	  {
		  if((HAL_GetTick() - Modem_RX_Time) > (500 + tickFreq))
		  {
			  //printf("M %ld,F:%ld\r\n", (HAL_GetTick() - Modem_RX_Time), tickFreq);
			  Modem_RX_Time = HAL_GetTick();
			  Modem_RX_Flag |= 0x02;
		  }
	  }
	  else if((Modem_RX_Index > 0)&&((HAL_GetTick() - Modem_RX_Time) > (20000 + tickFreq)))
	  {
		  Modem_RX_Flag |= 0x02;
	  }
#endif
    /* USER CODE END WHILE */

    /* USER CODE BEGIN 3 */
  }
  return 0;
  /* USER CODE END 3 */
}

void SystemClock_Config(void)
{
  RCC_OscInitTypeDef RCC_OscInitStruct = {0};
  RCC_ClkInitTypeDef RCC_ClkInitStruct = {0};

  /** Configure the main internal regulator output voltage
  */
  if (HAL_PWREx_ControlVoltageScaling(PWR_REGULATOR_VOLTAGE_SCALE1) != HAL_OK)
  {
    Error_Handler();
  }

  /** Initializes the RCC Oscillators according to the specified parameters
  * in the RCC_OscInitTypeDef structure.
  */
  RCC_OscInitStruct.OscillatorType = RCC_OSCILLATORTYPE_HSI|RCC_OSCILLATORTYPE_LSI;
  RCC_OscInitStruct.HSIState = RCC_HSI_ON;
  RCC_OscInitStruct.HSICalibrationValue = RCC_HSICALIBRATION_DEFAULT;
  RCC_OscInitStruct.LSIState = RCC_LSI_ON;
  RCC_OscInitStruct.PLL.PLLState = RCC_PLL_ON;
  RCC_OscInitStruct.PLL.PLLSource = RCC_PLLSOURCE_HSI;
  RCC_OscInitStruct.PLL.PLLM = 1;
  RCC_OscInitStruct.PLL.PLLN = 10;
  RCC_OscInitStruct.PLL.PLLP = RCC_PLLP_DIV2;
  RCC_OscInitStruct.PLL.PLLQ = RCC_PLLQ_DIV2;
  RCC_OscInitStruct.PLL.PLLR = RCC_PLLR_DIV2;
  if (HAL_RCC_OscConfig(&RCC_OscInitStruct) != HAL_OK)
  {
    Error_Handler();
  }

  /** Initializes the CPU, AHB and APB buses clocks
  */
  RCC_ClkInitStruct.ClockType = RCC_CLOCKTYPE_HCLK|RCC_CLOCKTYPE_SYSCLK
                              |RCC_CLOCKTYPE_PCLK1|RCC_CLOCKTYPE_PCLK2;
  RCC_ClkInitStruct.SYSCLKSource = RCC_SYSCLKSOURCE_PLLCLK;
  RCC_ClkInitStruct.AHBCLKDivider = RCC_SYSCLK_DIV1;
  RCC_ClkInitStruct.APB1CLKDivider = RCC_HCLK_DIV1;
  RCC_ClkInitStruct.APB2CLKDivider = RCC_HCLK_DIV1;

  if (HAL_RCC_ClockConfig(&RCC_ClkInitStruct, FLASH_LATENCY_4) != HAL_OK)
  {
    Error_Handler();
  }
}

void PeriphCommonClock_Config(void)
{
  RCC_PeriphCLKInitTypeDef PeriphClkInit = {0};

  /** Initializes the peripherals clock
  */
  PeriphClkInit.PeriphClockSelection = RCC_PERIPHCLK_ADC;
  PeriphClkInit.AdcClockSelection = RCC_ADCCLKSOURCE_PLLSAI1;
  PeriphClkInit.PLLSAI1.PLLSAI1Source = RCC_PLLSOURCE_HSI;
  PeriphClkInit.PLLSAI1.PLLSAI1M = 1;
  PeriphClkInit.PLLSAI1.PLLSAI1N = 8;
  PeriphClkInit.PLLSAI1.PLLSAI1P = RCC_PLLP_DIV2;
  PeriphClkInit.PLLSAI1.PLLSAI1Q = RCC_PLLQ_DIV2;
  PeriphClkInit.PLLSAI1.PLLSAI1R = RCC_PLLR_DIV2;
  PeriphClkInit.PLLSAI1.PLLSAI1ClockOut = RCC_PLLSAI1_ADC1CLK;
  if (HAL_RCCEx_PeriphCLKConfig(&PeriphClkInit) != HAL_OK)
  {
    Error_Handler();
  }
}

static void MX_ADC1_Init(void)
{

  ADC_MultiModeTypeDef multimode = {0};
  ADC_ChannelConfTypeDef sConfig = {0};

  /** Common config
  */
  hadc1.Instance = ADC1;
  hadc1.Init.ClockPrescaler = ADC_CLOCK_ASYNC_DIV1;
  hadc1.Init.Resolution = ADC_RESOLUTION_12B;
  hadc1.Init.DataAlign = ADC_DATAALIGN_RIGHT;
  hadc1.Init.ScanConvMode = ADC_SCAN_ENABLE;
  hadc1.Init.EOCSelection = ADC_EOC_SINGLE_CONV;
  hadc1.Init.LowPowerAutoWait = DISABLE;
  hadc1.Init.ContinuousConvMode = DISABLE;
  hadc1.Init.NbrOfConversion = 5;
  hadc1.Init.DiscontinuousConvMode = DISABLE;
  hadc1.Init.ExternalTrigConv = ADC_SOFTWARE_START;
  hadc1.Init.ExternalTrigConvEdge = ADC_EXTERNALTRIGCONVEDGE_NONE;
  hadc1.Init.DMAContinuousRequests = ENABLE;
  hadc1.Init.Overrun = ADC_OVR_DATA_OVERWRITTEN;
  hadc1.Init.OversamplingMode = DISABLE;
  if (HAL_ADC_Init(&hadc1) != HAL_OK)
  {
    Error_Handler();
  }

  /** Configure the ADC multi-mode
  */
  multimode.Mode = ADC_MODE_INDEPENDENT;
  if (HAL_ADCEx_MultiModeConfigChannel(&hadc1, &multimode) != HAL_OK)
  {
    Error_Handler();
  }

  /** Configure Regular Channel
  */
  sConfig.Channel = ADC_CHANNEL_TEMPSENSOR;
  sConfig.Rank = ADC_REGULAR_RANK_1;
  sConfig.SamplingTime = ADC_SAMPLETIME_2CYCLES_5;
  sConfig.SingleDiff = ADC_SINGLE_ENDED;
  sConfig.OffsetNumber = ADC_OFFSET_NONE;
  sConfig.Offset = 0;
  if (HAL_ADC_ConfigChannel(&hadc1, &sConfig) != HAL_OK)
  {
    Error_Handler();
  }

  /** Configure Regular Channel
  */
  sConfig.Channel = ADC_CHANNEL_VBAT;
  sConfig.Rank = ADC_REGULAR_RANK_2;
  if (HAL_ADC_ConfigChannel(&hadc1, &sConfig) != HAL_OK)
  {
    Error_Handler();
  }

  /** Configure Regular Channel
  */
  sConfig.Channel = ADC_CHANNEL_VREFINT;
  sConfig.Rank = ADC_REGULAR_RANK_3;
  if (HAL_ADC_ConfigChannel(&hadc1, &sConfig) != HAL_OK)
  {
    Error_Handler();
  }

  /** Configure Regular Channel
  */
  sConfig.Channel = ADC_CHANNEL_3;
  sConfig.Rank = ADC_REGULAR_RANK_4;
  if (HAL_ADC_ConfigChannel(&hadc1, &sConfig) != HAL_OK)
  {
    Error_Handler();
  }

  /** Configure Regular Channel
  */
  sConfig.Channel = ADC_CHANNEL_4;
  sConfig.Rank = ADC_REGULAR_RANK_5;
  if (HAL_ADC_ConfigChannel(&hadc1, &sConfig) != HAL_OK)
  {
    Error_Handler();
  }

}

static void MX_ADC2_Init(void)
{

  ADC_ChannelConfTypeDef sConfig = {0};

  /** Common config
  */
  hadc2.Instance = ADC2;
  hadc2.Init.ClockPrescaler = ADC_CLOCK_ASYNC_DIV1;
  hadc2.Init.Resolution = ADC_RESOLUTION_12B;
  hadc2.Init.DataAlign = ADC_DATAALIGN_RIGHT;
  hadc2.Init.ScanConvMode = ADC_SCAN_DISABLE;
  hadc2.Init.EOCSelection = ADC_EOC_SINGLE_CONV;
  hadc2.Init.LowPowerAutoWait = DISABLE;
  hadc2.Init.ContinuousConvMode = DISABLE;
  hadc2.Init.NbrOfConversion = 1;
  hadc2.Init.DiscontinuousConvMode = DISABLE;
  hadc2.Init.ExternalTrigConv = ADC_SOFTWARE_START;
  hadc2.Init.ExternalTrigConvEdge = ADC_EXTERNALTRIGCONVEDGE_NONE;
  hadc2.Init.DMAContinuousRequests = DISABLE;
  hadc2.Init.Overrun = ADC_OVR_DATA_PRESERVED;
  hadc2.Init.OversamplingMode = DISABLE;
  if (HAL_ADC_Init(&hadc2) != HAL_OK)
  {
    Error_Handler();
  }

  /** Configure Regular Channel
  */
  sConfig.Channel = ADC_CHANNEL_15;
  sConfig.Rank = ADC_REGULAR_RANK_1;
  sConfig.SamplingTime = ADC_SAMPLETIME_2CYCLES_5;
  sConfig.SingleDiff = ADC_SINGLE_ENDED;
  sConfig.OffsetNumber = ADC_OFFSET_NONE;
  sConfig.Offset = 0;
  if (HAL_ADC_ConfigChannel(&hadc2, &sConfig) != HAL_OK)
  {
    Error_Handler();
  }

}

static void MX_I2C4_Init(void)
{

  hi2c4.Instance = I2C4;
  hi2c4.Init.Timing = 0x10D19CE4;
  hi2c4.Init.OwnAddress1 = 0;
  hi2c4.Init.AddressingMode = I2C_ADDRESSINGMODE_7BIT;
  hi2c4.Init.DualAddressMode = I2C_DUALADDRESS_DISABLE;
  hi2c4.Init.OwnAddress2 = 0;
  hi2c4.Init.OwnAddress2Masks = I2C_OA2_NOMASK;
  hi2c4.Init.GeneralCallMode = I2C_GENERALCALL_DISABLE;
  hi2c4.Init.NoStretchMode = I2C_NOSTRETCH_DISABLE;
  if (HAL_I2C_Init(&hi2c4) != HAL_OK)
  {
    Error_Handler();
  }

  /** Configure Analogue filter
  */
  if (HAL_I2CEx_ConfigAnalogFilter(&hi2c4, I2C_ANALOGFILTER_ENABLE) != HAL_OK)
  {
    Error_Handler();
  }

  /** Configure Digital filter
  */
  if (HAL_I2CEx_ConfigDigitalFilter(&hi2c4, 0) != HAL_OK)
  {
    Error_Handler();
  }

}

static void MX_RTC_Init(void)
{

  /** Initialize RTC Only
  */
  hrtc.Instance = RTC;
  hrtc.Init.HourFormat = RTC_HOURFORMAT_24;
  hrtc.Init.AsynchPrediv = 127;
  hrtc.Init.SynchPrediv = 255;
  hrtc.Init.OutPut = RTC_OUTPUT_DISABLE;
  hrtc.Init.OutPutRemap = RTC_OUTPUT_REMAP_NONE;
  hrtc.Init.OutPutPolarity = RTC_OUTPUT_POLARITY_HIGH;
  hrtc.Init.OutPutType = RTC_OUTPUT_TYPE_OPENDRAIN;
  if (HAL_RTC_Init(&hrtc) != HAL_OK)
  {
    Error_Handler();
  }

}

static void MX_SPI1_Init(void)
{

  /* SPI1 parameter configuration*/
  hspi1.Instance = SPI1;
  hspi1.Init.Mode = SPI_MODE_MASTER;
  hspi1.Init.Direction = SPI_DIRECTION_2LINES;
  hspi1.Init.DataSize = SPI_DATASIZE_8BIT;
  hspi1.Init.CLKPolarity = SPI_POLARITY_LOW;
  hspi1.Init.CLKPhase = SPI_PHASE_1EDGE;
  hspi1.Init.NSS = SPI_NSS_SOFT;
  hspi1.Init.BaudRatePrescaler = SPI_BAUDRATEPRESCALER_4;
  hspi1.Init.FirstBit = SPI_FIRSTBIT_MSB;
  hspi1.Init.TIMode = SPI_TIMODE_DISABLE;
  hspi1.Init.CRCCalculation = SPI_CRCCALCULATION_DISABLE;
  hspi1.Init.CRCPolynomial = 7;
  hspi1.Init.CRCLength = SPI_CRC_LENGTH_DATASIZE;
  hspi1.Init.NSSPMode = SPI_NSS_PULSE_ENABLE;
  if (HAL_SPI_Init(&hspi1) != HAL_OK)
  {
    Error_Handler();
  }

}

static void MX_TIM1_Init(void)
{

  TIM_ClockConfigTypeDef sClockSourceConfig = {0};
  TIM_SlaveConfigTypeDef sSlaveConfig = {0};
  TIM_MasterConfigTypeDef sMasterConfig = {0};

  htim1.Instance = TIM1;
  htim1.Init.Prescaler = 0;
  htim1.Init.CounterMode = TIM_COUNTERMODE_UP;
  htim1.Init.Period = 65535;
  htim1.Init.ClockDivision = TIM_CLOCKDIVISION_DIV1;
  htim1.Init.RepetitionCounter = 0;
  htim1.Init.AutoReloadPreload = TIM_AUTORELOAD_PRELOAD_DISABLE;
  if (HAL_TIM_Base_Init(&htim1) != HAL_OK)
  {
    Error_Handler();
  }
  sClockSourceConfig.ClockSource = TIM_CLOCKSOURCE_INTERNAL;
  if (HAL_TIM_ConfigClockSource(&htim1, &sClockSourceConfig) != HAL_OK)
  {
    Error_Handler();
  }
  sSlaveConfig.SlaveMode = TIM_SLAVEMODE_DISABLE;
  sSlaveConfig.InputTrigger = TIM_TS_ITR0;
  if (HAL_TIM_SlaveConfigSynchro(&htim1, &sSlaveConfig) != HAL_OK)
  {
    Error_Handler();
  }
  sMasterConfig.MasterOutputTrigger = TIM_TRGO_RESET;
  sMasterConfig.MasterOutputTrigger2 = TIM_TRGO2_RESET;
  sMasterConfig.MasterSlaveMode = TIM_MASTERSLAVEMODE_DISABLE;
  if (HAL_TIMEx_MasterConfigSynchronization(&htim1, &sMasterConfig) != HAL_OK)
  {
    Error_Handler();
  }

}

static void MX_UART4_Init(void)
{

  huart4.Instance = UART4;
  huart4.Init.BaudRate = 1200;
  huart4.Init.WordLength = UART_WORDLENGTH_8B;
  huart4.Init.StopBits = UART_STOPBITS_1;
  huart4.Init.Parity = UART_PARITY_NONE;
  huart4.Init.Mode = UART_MODE_TX_RX;
  huart4.Init.HwFlowCtl = UART_HWCONTROL_NONE;
  huart4.Init.OverSampling = UART_OVERSAMPLING_16;
  huart4.Init.OneBitSampling = UART_ONE_BIT_SAMPLE_DISABLE;
  huart4.AdvancedInit.AdvFeatureInit = UART_ADVFEATURE_NO_INIT;
  if (HAL_UART_Init(&huart4) != HAL_OK)
  {
    Error_Handler();
  }

}

static void MX_UART5_Init(void)
{

  huart5.Instance = UART5;
  huart5.Init.BaudRate = 115200;
  huart5.Init.WordLength = UART_WORDLENGTH_8B;
  huart5.Init.StopBits = UART_STOPBITS_1;
  huart5.Init.Parity = UART_PARITY_NONE;
  huart5.Init.Mode = UART_MODE_TX_RX;
  huart5.Init.HwFlowCtl = UART_HWCONTROL_NONE;
  huart5.Init.OverSampling = UART_OVERSAMPLING_16;
  huart5.Init.OneBitSampling = UART_ONE_BIT_SAMPLE_DISABLE;
  huart5.AdvancedInit.AdvFeatureInit = UART_ADVFEATURE_NO_INIT;
  if (HAL_UART_Init(&huart5) != HAL_OK)
  {
    Error_Handler();
  }

}

static void MX_USART1_UART_Init(void)
{

  huart1.Instance = USART1;
  huart1.Init.BaudRate = 115200;
  huart1.Init.WordLength = UART_WORDLENGTH_8B;
  huart1.Init.StopBits = UART_STOPBITS_1;
  huart1.Init.Parity = UART_PARITY_NONE;
  huart1.Init.Mode = UART_MODE_TX_RX;
  huart1.Init.HwFlowCtl = UART_HWCONTROL_NONE;
  huart1.Init.OverSampling = UART_OVERSAMPLING_16;
  huart1.Init.OneBitSampling = UART_ONE_BIT_SAMPLE_DISABLE;
  huart1.AdvancedInit.AdvFeatureInit = UART_ADVFEATURE_NO_INIT;
  if (HAL_UART_Init(&huart1) != HAL_OK)
  {
    Error_Handler();
  }

}

static void MX_USART2_UART_Init(void)
{

  huart2.Instance = USART2;
  huart2.Init.BaudRate = 115200;
  huart2.Init.WordLength = UART_WORDLENGTH_8B;
  huart2.Init.StopBits = UART_STOPBITS_1;
  huart2.Init.Parity = UART_PARITY_NONE;
  huart2.Init.Mode = UART_MODE_TX_RX;
  huart2.Init.HwFlowCtl = UART_HWCONTROL_NONE;
  huart2.Init.OverSampling = UART_OVERSAMPLING_16;
  huart2.Init.OneBitSampling = UART_ONE_BIT_SAMPLE_DISABLE;
  huart2.AdvancedInit.AdvFeatureInit = UART_ADVFEATURE_NO_INIT;
  if (HAL_UART_Init(&huart2) != HAL_OK)
  {
    Error_Handler();
  }

}

static void MX_DMA_Init(void)
{

  /* DMA controller clock enable */
  __HAL_RCC_DMA1_CLK_ENABLE();
  __HAL_RCC_DMA2_CLK_ENABLE();

  /* DMA interrupt init */
  /* DMA1_Channel1_IRQn interrupt configuration */
  HAL_NVIC_SetPriority(DMA1_Channel1_IRQn, 0, 0);
  HAL_NVIC_EnableIRQ(DMA1_Channel1_IRQn);
  /* DMA1_Channel2_IRQn interrupt configuration */
  HAL_NVIC_SetPriority(DMA1_Channel2_IRQn, 0, 0);
  HAL_NVIC_EnableIRQ(DMA1_Channel2_IRQn);
  /* DMA1_Channel4_IRQn interrupt configuration */
  HAL_NVIC_SetPriority(DMA1_Channel4_IRQn, 0, 0);
  HAL_NVIC_EnableIRQ(DMA1_Channel4_IRQn);
  /* DMA1_Channel5_IRQn interrupt configuration */
  HAL_NVIC_SetPriority(DMA1_Channel5_IRQn, 0, 0);
  HAL_NVIC_EnableIRQ(DMA1_Channel5_IRQn);
  /* DMA1_Channel6_IRQn interrupt configuration */
  HAL_NVIC_SetPriority(DMA1_Channel6_IRQn, 0, 0);
  HAL_NVIC_EnableIRQ(DMA1_Channel6_IRQn);
  /* DMA1_Channel7_IRQn interrupt configuration */
  HAL_NVIC_SetPriority(DMA1_Channel7_IRQn, 0, 0);
  HAL_NVIC_EnableIRQ(DMA1_Channel7_IRQn);
  /* DMA2_Channel1_IRQn interrupt configuration */
  HAL_NVIC_SetPriority(DMA2_Channel1_IRQn, 0, 0);
  HAL_NVIC_EnableIRQ(DMA2_Channel1_IRQn);
  /* DMA2_Channel2_IRQn interrupt configuration */
  HAL_NVIC_SetPriority(DMA2_Channel2_IRQn, 0, 0);
  HAL_NVIC_EnableIRQ(DMA2_Channel2_IRQn);
  /* DMA2_Channel3_IRQn interrupt configuration */
  HAL_NVIC_SetPriority(DMA2_Channel3_IRQn, 0, 0);
  HAL_NVIC_EnableIRQ(DMA2_Channel3_IRQn);
  /* DMA2_Channel5_IRQn interrupt configuration */
  HAL_NVIC_SetPriority(DMA2_Channel5_IRQn, 0, 0);
  HAL_NVIC_EnableIRQ(DMA2_Channel5_IRQn);

}

static void MX_GPIO_Init(void)
{
  GPIO_InitTypeDef GPIO_InitStruct = {0};

  /* GPIO Ports Clock Enable */
  __HAL_RCC_GPIOC_CLK_ENABLE();
  __HAL_RCC_GPIOA_CLK_ENABLE();
  __HAL_RCC_GPIOB_CLK_ENABLE();
  __HAL_RCC_GPIOD_CLK_ENABLE();

  /*Configure GPIO pin Output Level */
  HAL_GPIO_WritePin(FLASH_CS_GPIO_Port, FLASH_CS_Pin, GPIO_PIN_RESET);

  /*Configure GPIO pin Output Level */
  HAL_GPIO_WritePin(GPIOD, NRESET_Pin|MCU_RUN_Pin, GPIO_PIN_RESET);

  /*Configure GPIO pin Output Level */
  HAL_GPIO_WritePin(GPIOD, PWRKEY_Pin|RF_POWER_Pin, GPIO_PIN_SET);

  /*Configure GPIO pin Output Level */
  HAL_GPIO_WritePin(ENABLE_FLASH_GPIO_Port, ENABLE_FLASH_Pin, GPIO_PIN_SET);

  /*Configure GPIO pin : FLASH_CS_Pin */
  GPIO_InitStruct.Pin = FLASH_CS_Pin;
  GPIO_InitStruct.Mode = GPIO_MODE_OUTPUT_PP;
  GPIO_InitStruct.Pull = GPIO_NOPULL;
  GPIO_InitStruct.Speed = GPIO_SPEED_FREQ_VERY_HIGH;
  HAL_GPIO_Init(FLASH_CS_GPIO_Port, &GPIO_InitStruct);

  /*Configure GPIO pins : NFC_VOUT_Pin FD_Pin */
  GPIO_InitStruct.Pin = NFC_VOUT_Pin|FD_Pin;
  GPIO_InitStruct.Mode = GPIO_MODE_INPUT;
  GPIO_InitStruct.Pull = GPIO_NOPULL;
  HAL_GPIO_Init(GPIOB, &GPIO_InitStruct);

  /*Configure GPIO pins : NRESET_Pin MCU_RUN_Pin */
  GPIO_InitStruct.Pin = NRESET_Pin|MCU_RUN_Pin;
  GPIO_InitStruct.Mode = GPIO_MODE_OUTPUT_PP;
  GPIO_InitStruct.Pull = GPIO_NOPULL;
  GPIO_InitStruct.Speed = GPIO_SPEED_FREQ_LOW;
  HAL_GPIO_Init(GPIOD, &GPIO_InitStruct);

  /*Configure GPIO pin : NETLIGHT_Pin */
  GPIO_InitStruct.Pin = NETLIGHT_Pin;
  GPIO_InitStruct.Mode = GPIO_MODE_INPUT;
  GPIO_InitStruct.Pull = GPIO_PULLUP;
  HAL_GPIO_Init(NETLIGHT_GPIO_Port, &GPIO_InitStruct);

  /*Configure GPIO pins : PWRKEY_Pin RF_POWER_Pin */
  GPIO_InitStruct.Pin = PWRKEY_Pin|RF_POWER_Pin;
  GPIO_InitStruct.Mode = GPIO_MODE_OUTPUT_PP;
  GPIO_InitStruct.Pull = GPIO_PULLUP;
  GPIO_InitStruct.Speed = GPIO_SPEED_FREQ_LOW;
  HAL_GPIO_Init(GPIOD, &GPIO_InitStruct);

  /*Configure GPIO pins : SENSE_PV_Pin SENSE_CRITICAL_Pin SENSE_WARNING_Pin SENSE_TC_Pin */
  GPIO_InitStruct.Pin = SENSE_PV_Pin|SENSE_CRITICAL_Pin|SENSE_WARNING_Pin|SENSE_TC_Pin;
  GPIO_InitStruct.Mode = GPIO_MODE_INPUT;
  GPIO_InitStruct.Pull = GPIO_NOPULL;
  HAL_GPIO_Init(GPIOC, &GPIO_InitStruct);

  /*Configure GPIO pin : ENABLE_FLASH_Pin */
  GPIO_InitStruct.Pin = ENABLE_FLASH_Pin;
  GPIO_InitStruct.Mode = GPIO_MODE_OUTPUT_PP;
  GPIO_InitStruct.Pull = GPIO_NOPULL;
  GPIO_InitStruct.Speed = GPIO_SPEED_FREQ_LOW;
  HAL_GPIO_Init(ENABLE_FLASH_GPIO_Port, &GPIO_InitStruct);

}

void Error_Handler(void)
{
  /* USER CODE BEGIN Error_Handler_Debug */
  /* User can add his own implementation to report the HAL error return state */
	printf("ERROR\n");
  __disable_irq();
  while (1)
  {
  }
  /* USER CODE END Error_Handler_Debug */
}
